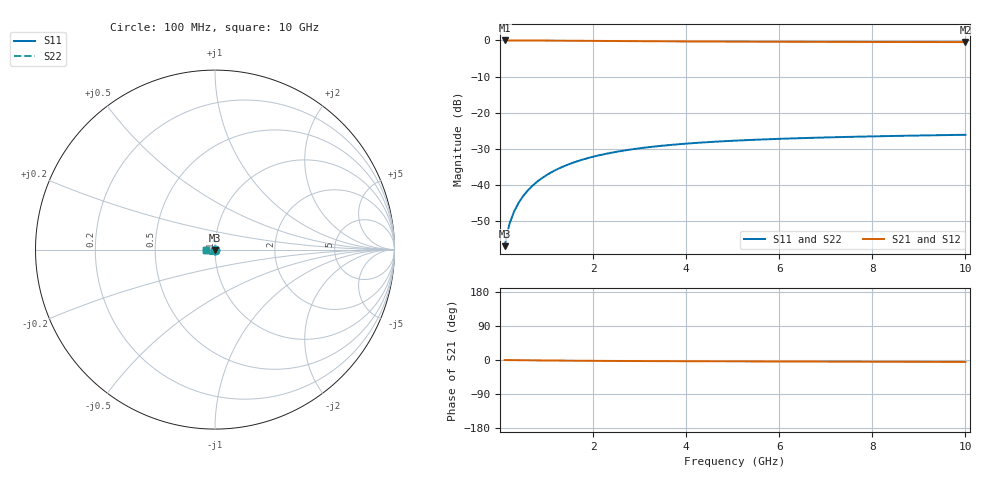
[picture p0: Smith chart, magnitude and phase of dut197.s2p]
! Touchstone file exported from HFSS 2024.1.0
!  File:  C:/UserFiles/LocalFiles/RDL_TSV_Batchsim/temp_TSV1_197_1779385548.aedt
!  Generated:  01:51:53 AM May 22, 2026
!  Design:  TSV1
!  Project:  temp_TSV1_197_1779385548
!  Setup:  Setup1
!  Solution:  Sweep
! Variables:
!  dtsv = 11.93um
!  hbump = 3um
!  htsv = 78.71um
!  lrdl = 252.1521522um
!  p = 40
!  p1 = 53.49um
!  t = 500um
!  trdl = 3um
!  wrdl = 24.89489489um
# GHz S MA R 50.000000
! Terminal data exported
! Port[1] = TSV22_T1
! Port[2] = TSV22_T2
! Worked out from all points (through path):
!   100 points, 100 MHz to 10 GHz, reference 50 ohm
!   highest |S21| = 0.00 dB at 100 MHz (marker M1); lowest = -0.5 dB at 10 GHz (marker M2)
!   lowest |S11| = -57.0 dB at 100 MHz (marker M3), VSWR 1.00, Z = 50 - j0.141 ohm
!   |S11| at or under -10 dB: start of sweep to end of sweep
!   |S22| runs from -57.0 to -26.2 dB; largest |S21 - S12| = 3.2e-15
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0.1  0.001407 -87.8  0.9998 -0.1  0.9998 -0.1  0.001407 -87.8
! Gamma 0 0 0 0
! Port Impedance 50 0 50 0
0.2  0.002809 -91.5  0.9997 -0.3  0.9997 -0.3  0.002809 -91.5
0.3  0.004209 -93.9  0.9995 -0.4  0.9995 -0.4  0.004209 -93.9
0.4  0.005603 -96.1  0.9991 -0.5  0.9991 -0.5  0.005603 -96.1
0.5  0.006985 -98.1  0.9987 -0.7  0.9987 -0.7  0.006985 -98.1
0.6  0.008351 -100.1  0.9982 -0.8  0.9982 -0.8  0.008351 -100.1
0.7  0.009697 -102.0  0.9977 -0.9  0.9977 -0.9  0.009697 -102.0
0.8  0.01102 -103.8  0.997 -1.0  0.997 -1.0  0.01102 -103.8
0.9  0.01232 -105.7  0.9963 -1.1  0.9963 -1.1  0.01232 -105.7
1.1  0.01482 -109.2  0.9948 -1.4  0.9948 -1.4  0.01482 -109.2
1.4  0.01834 -114.3  0.9922 -1.7  0.9922 -1.7  0.01834 -114.3
1.6  0.02051 -117.4  0.9903 -1.8  0.9903 -1.8  0.02051 -117.4
1.8  0.02254 -120.5  0.9884 -2.0  0.9884 -2.0  0.02254 -120.5
2.1  0.02533 -124.8  0.9854 -2.2  0.9854 -2.2  0.02533 -124.8
2.5  0.02858 -130.0  0.9815 -2.5  0.9815 -2.5  0.02858 -130.0
2.9  0.03136 -134.8  0.9778 -2.7  0.9778 -2.7  0.03136 -134.8
3.4  0.03428 -140.1  0.9736 -3.0  0.9736 -3.0  0.03428 -140.1
4.2  0.03792 -147.3  0.968 -3.3  0.968 -3.3  0.03792 -147.3
5.1  0.04096 -154.1  0.9629 -3.6  0.9629 -3.6  0.04096 -154.1
6.7  0.04469 -163.7  0.9566 -4.1  0.9566 -4.1  0.04469 -163.7
8.4  0.04735 -171.8  0.9522 -4.6  0.9522 -4.6  0.04735 -171.8
10  0.04924 -178.0  0.9494 -5.1  0.9494 -5.1  0.04924 -178.0
